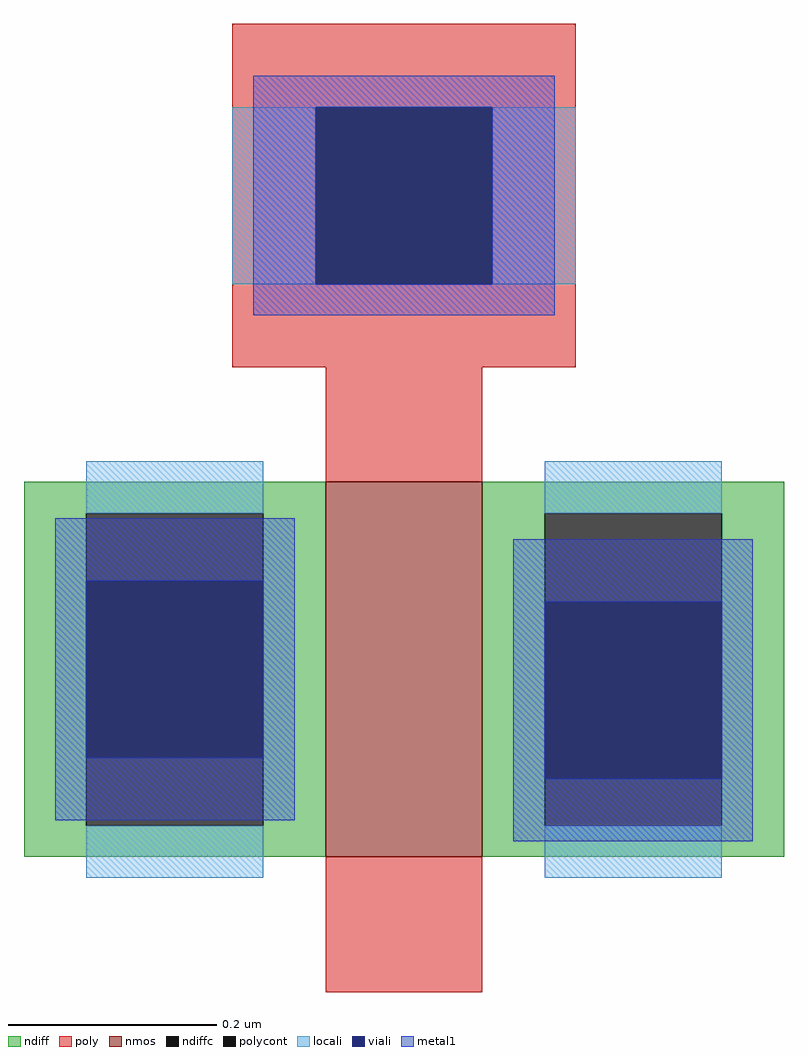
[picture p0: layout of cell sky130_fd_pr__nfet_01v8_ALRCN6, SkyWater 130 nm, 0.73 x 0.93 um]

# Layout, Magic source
magic
tech sky130A
magscale 1 2
<< nmos >>
rect -15 -67 15 5
<< ndiff >>
rect -73 -1 -15 5
rect -73 -61 -61 -1
rect -27 -61 -15 -1
rect -73 -67 -15 -61
rect 15 -1 73 5
rect 15 -61 27 -1
rect 61 -61 73 -1
rect 15 -67 73 -61
<< ndiffc >>
rect -61 -61 -27 -1
rect 27 -61 61 -1
<< poly >>
rect -33 77 33 93
rect -33 43 -17 77
rect 17 43 33 77
rect -33 27 33 43
rect -15 5 15 27
rect -15 -93 15 -67
<< polycont >>
rect -17 43 17 77
<< locali >>
rect -33 43 -17 77
rect 17 43 33 77
rect -61 -1 -27 9
rect -61 -71 -27 -61
rect 27 -1 61 9
rect 27 -71 61 -61
<< viali >>
rect -17 43 17 77
rect -61 -48 -27 -14
rect 27 -52 61 -18
<< metal1 >>
rect -29 77 29 83
rect -29 43 -17 77
rect 17 43 29 77
rect -29 37 29 43
rect -67 -14 -21 -2
rect -67 -48 -61 -14
rect -27 -48 -21 -14
rect -67 -60 -21 -48
rect 21 -18 67 -6
rect 21 -52 27 -18
rect 61 -52 67 -18
rect 21 -64 67 -52
<< properties >>
string gencell sky130_fd_pr__nfet_01v8
string parameters w 0.42 l 0.150 m 1 nf 1 diffcov 100 polycov 100 guard 0 glc 0 grc 0 gtc 0 gbc 1 tbcov 100 rlcov 100 topc 1 botc 0 poverlap 0 doverlap 1 lmin 0.15 wmin 0.42 compatible {sky130_fd_pr__nfet_01v8 sky130_fd_pr__nfet_01v8_lvt  sky130_fd_bs_flash__special_sonosfet_star  sky130_fd_pr__nfet_g5v0d10v5 sky130_fd_pr__nfet_05v0_nvt  sky130_fd_pr__nfet_03v3_nvt} full_metal 0 viasrc -40 viadrn 40 viagate 100 viagb 80 viagr 0 viagl 0 viagt 0
string library sky130
<< end >>
